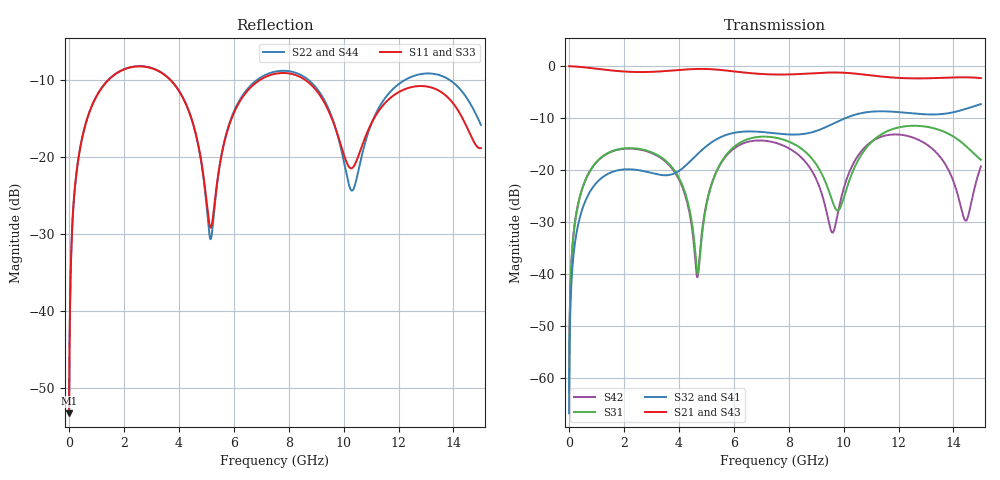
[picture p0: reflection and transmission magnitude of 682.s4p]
! Created with skrf 1.8.0 (http://scikit-rf.org).
# GHz S RI R 50.0
!freq ReS11 ImS11 ReS12 ImS12 ReS13 ImS13
! ReS14 ImS14
! ReS21 ImS21 ReS22 ImS22 ReS23 ImS23
! ReS24 ImS24
! ReS31 ImS31 ReS32 ImS32 ReS33 ImS33
! ReS34 ImS34
! ReS41 ImS41 ReS42 ImS42 ReS43 ImS43
! ReS44 ImS44
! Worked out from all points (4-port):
!   2499 points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, 5 MHz to 15 GHz, reference 50 ohm
!   strongest paths, dB at 5 MHz, 3.476 GHz, 7.19 GHz, 11.1 GHz, 15 GHz:
!     S21: 0.0, -1.0, -1.6, -1.9, -2.3
!     S43: 0.0, -1.0, -1.6, -1.9, -2.3
!     S32: -66.8, -21.0, -12.8, -8.7, -7.3
!     S41: -66.8, -21.0, -12.8, -8.8, -7.3
!     S31: -62.8, -18.0, -13.6, -14.2, -18.0
!     S42: -62.8, -18.2, -14.4, -14.3, -19.3
!   lowest |S11| = -53.2 dB at 5 MHz (marker M1), VSWR 1.00, Z = 50.2 + j0.132 ohm
!   |S11| at or under -10 dB: start of sweep to 1.418 GHz; 3.708 GHz to 6.927 GHz (3.219 GHz wide, 60.5 % of centre); 8.628 GHz to end of sweep
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0.005  0.00174 0.00132  0.9982 -0.00338  8.87e-05 0.000719  -8.59e-05 -0.000446
       0.9982 -0.00338  0.00174 0.00132  -8.59e-05 -0.000446  8.86e-05 0.000719
       8.87e-05 0.000719  -8.59e-05 -0.000446  0.00174 0.00132  0.9982 -0.00338
       -8.59e-05 -0.000446  8.86e-05 0.000719  0.9982 -0.00338  0.00174 0.00132
0.3126303  0.0265 0.0861  0.9636 -0.21  0.0129 0.0423  -0.0105 -0.0259
           0.9636 -0.21  0.0266 0.0861  -0.0105 -0.0259  0.0126 0.0424
           0.0129 0.0423  -0.0105 -0.0259  0.0265 0.0861  0.9636 -0.21
           -0.0105 -0.0259  0.0126 0.0424  0.9636 -0.21  0.0266 0.0861
1.469362  0.2702 0.1768  0.5466 -0.7303  0.1343 0.0619  -0.093 -0.00571
          0.5466 -0.7303  0.2712 0.1761  -0.093 -0.00569  0.1314 0.0657
          0.1343 0.0619  -0.093 -0.00569  0.2702 0.1768  0.5466 -0.7303
          -0.093 -0.00571  0.1314 0.0657  0.5466 -0.7303  0.2713 0.176
4.695707  0.0631 -0.1063  -0.8755 -0.3387  -0.01 -0.00081  -0.0479 0.1351
          -0.8755 -0.3387  0.0579 -0.1085  -0.0479 0.1351  -0.0097 0.00103
          -0.01 -0.00081  -0.0479 0.1351  0.0617 -0.1068  -0.8756 -0.3386
          -0.0479 0.1351  -0.0097 0.00103  -0.8756 -0.3386  0.0593 -0.108
7.959566  0.3512 -0.0253  -0.0227 0.8302  0.1581 -0.1046  0.2101 -0.0624
          -0.0227 0.8302  0.3623 -0.0371  0.2108 -0.0634  0.1538 -0.0575
          0.1581 -0.1046  0.2108 -0.0634  0.3519 -0.0217  -0.0224 0.8298
          0.2101 -0.0624  0.1538 -0.0575  -0.0224 0.8298  0.3635 -0.0409
10.67945  0.1078 0.0528  0.831 -0.0477  0.0625 0.1305  -0.0431 -0.3509
          0.831 -0.0477  0.0845 0.0631  -0.0441 -0.351  0.0422 0.1494
          0.0625 0.1305  -0.0441 -0.351  0.107 0.0529  0.8309 -0.0483
          -0.0431 -0.3509  0.0422 0.1494  0.8309 -0.0483  0.0855 0.0626
15  0.1143 0.0118  -0.6463 -0.4117  -0.1219 -0.0291  -0.2311 0.3641
    -0.6463 -0.4117  0.1268 -0.1023  -0.2266 0.3661  0.0202 0.1061
    -0.1219 -0.0291  -0.2266 0.3661  0.1258 0.0162  -0.6462 -0.4104
    -0.2311 0.3641  0.0202 0.1061  -0.6462 -0.4104  0.1189 -0.1096
